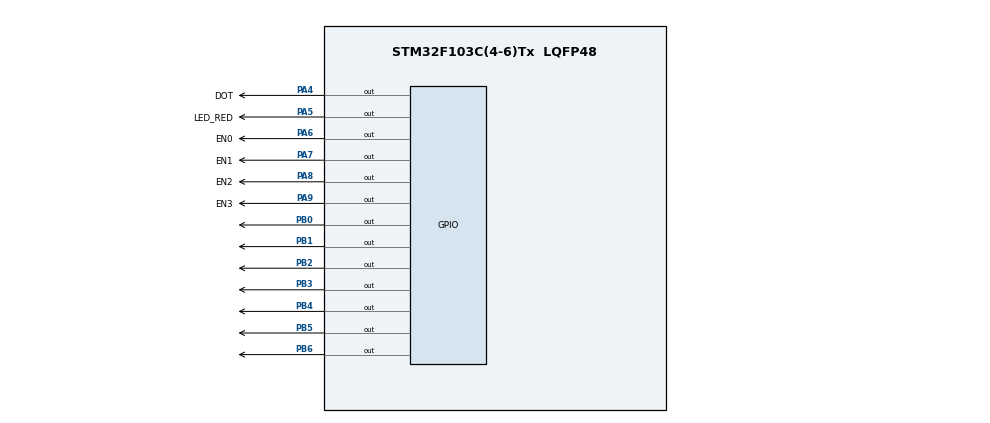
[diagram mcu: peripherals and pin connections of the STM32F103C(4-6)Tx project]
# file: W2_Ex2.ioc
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Mcu.Family=STM32F1
Mcu.Name=STM32F103C(4-6)Tx
Mcu.Package=LQFP48
NVIC.PriorityGroup=NVIC_PRIORITYGROUP_4
NVIC.TIM2_IRQn=true\:0\:0\:false\:false\:true\:true\:true
PA4.GPIO_Label=DOT
PA4.Signal=GPIO_Output
PA5.GPIO_Label=LED_RED
PA5.Signal=GPIO_Output
PA6.GPIO_Label=EN0
PA6.Signal=GPIO_Output
PA7.GPIO_Label=EN1
PA7.Signal=GPIO_Output
PA8.GPIO_Label=EN2
PA8.Signal=GPIO_Output
PA9.GPIO_Label=EN3
PA9.Signal=GPIO_Output
PB0.Signal=GPIO_Output
PB1.Signal=GPIO_Output
PB2.Signal=GPIO_Output
PB3.Signal=GPIO_Output
PB4.Signal=GPIO_Output
PB5.Signal=GPIO_Output
PB6.Signal=GPIO_Output
PD0-OSC_IN.Mode=HSE-External-Oscillator
PD0-OSC_IN.Signal=RCC_OSC_IN
PD1-OSC_OUT.Mode=HSE-External-Oscillator
PD1-OSC_OUT.Signal=RCC_OSC_OUT
ProjectManager.HeapSize=0x200
ProjectManager.StackSize=0x400
ProjectManager.TargetToolchain=STM32CubeIDE
RCC.APB1Freq_Value=8000000
RCC.APB2Freq_Value=8000000
TIM2.Period=9
TIM2.Prescaler=7999
VP_SYS_VS_ND.Mode=No_Debug
VP_TIM2_VS_ClockSourceINT.Mode=Internal
board=custom

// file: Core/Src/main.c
/* USER CODE BEGIN Header */
/**
  ******************************************************************************
  * @file           : main.c
  * @brief          : Main program body
  ******************************************************************************
  * @attention
  *
  * <h2><center>&copy; Copyright (c) 2021 STMicroelectronics.
  * All rights reserved.</center></h2>
  *
  * This software component is licensed by ST under BSD 3-Clause license,
  * the "License"; You may not use this file except in compliance with the
  * License. You may obtain a copy of the License at:
  *                        opensource.org/licenses/BSD-3-Clause
  *
  ******************************************************************************
  */
/* USER CODE END Header */
#include "main.h"

/* USER CODE BEGIN Includes */
int NUM[10][7]={
		{0,0,0,0,0,0,1},
		{1,0,0,1,1,1,1},
		{0,0,1,0,0,1,0},
		{0,0,0,0,1,1,0},
		{1,0,0,1,1,0,0},
		{0,1,0,0,1,0,0},
		{0,1,0,0,0,0,0},
		{0,0,0,1,1,1,1},
		{0,0,0,0,0,0,0},
		{0,0,0,0,1,0,0},
};

void display7SEG(int num)
{
	HAL_GPIO_WritePin(GPIOB, GPIO_PIN_0, NUM[num][0]);
	HAL_GPIO_WritePin(GPIOB, GPIO_PIN_1, NUM[num][1]);
	HAL_GPIO_WritePin(GPIOB, GPIO_PIN_2, NUM[num][2]);
	HAL_GPIO_WritePin(GPIOB, GPIO_PIN_3, NUM[num][3]);
	HAL_GPIO_WritePin(GPIOB, GPIO_PIN_4, NUM[num][4]);
	HAL_GPIO_WritePin(GPIOB, GPIO_PIN_5, NUM[num][5]);
	HAL_GPIO_WritePin(GPIOB, GPIO_PIN_6, NUM[num][6]);
}

#define START 0
#define ONE 1
#define TWO 2
#define THREE 3
#define ZERO 4
// Khơi tạo trạng thái đầu tiên
int status = START;

void FSM(){
	switch (status) {
		case START:
			// tắt tất cả đèn
			// 4 đèn 7SEG
			HAL_GPIO_WritePin(EN0_GPIO_Port, EN0_Pin, 1);
			HAL_GPIO_WritePin(EN1_GPIO_Port, EN1_Pin, 1);
			HAL_GPIO_WritePin(EN2_GPIO_Port, EN2_Pin, 1);
			HAL_GPIO_WritePin(EN3_GPIO_Port, EN3_Pin, 1);

			// đèn LED_RED
			HAL_GPIO_WritePin(LED_RED_GPIO_Port, LED_RED_Pin, 1);

			// đèn DOT
			HAL_GPIO_WritePin(DOT_GPIO_Port, DOT_Pin, 1);

			status = ONE;
			break;

		case ONE:
			// sáng đèn thứ nhất LED = 1, tắt các đèn còn lại
			HAL_GPIO_WritePin(EN3_GPIO_Port, EN3_Pin, 1);

			// hiển thị số 1 ở đèn thứ nhất
			display7SEG(1);
			HAL_GPIO_WritePin(EN0_GPIO_Port, EN0_Pin, 0);

			status = TWO;
			break;

		case TWO:
			// sáng đèn thứ hai LED = 2, tắt các đèn còn lại
			HAL_GPIO_WritePin(EN0_GPIO_Port, EN0_Pin, 1);

			// sau 1 giây thì nhảy đèn ở DOT và LED_RED
			HAL_GPIO_TogglePin(DOT_GPIO_Port, DOT_Pin);
			HAL_GPIO_TogglePin(LED_RED_GPIO_Port, LED_RED_Pin);

			// hiển thị số 2 ở đèn thứ hai
			display7SEG(2);
			HAL_GPIO_WritePin(EN1_GPIO_Port, EN1_Pin, 0);

			status = THREE;
			break;

		case THREE:
			// sáng đèn thứ ba LED = 3, tắt các đèn còn lại
			HAL_GPIO_WritePin(EN1_GPIO_Port, EN1_Pin, 1);

			// hiển thị số 3 ở đèn thứ ba
			display7SEG(3);
			HAL_GPIO_WritePin(EN2_GPIO_Port, EN2_Pin, 0);

			status = ZERO;
			break;

		case ZERO:
			// sáng đèn thứ tư LED = 0, tắt các đèn còn lại
			HAL_GPIO_WritePin(EN2_GPIO_Port, EN2_Pin, 1);

			// sau 1 giây thì nhảy đèn ở DOT và LED_RED
			HAL_GPIO_TogglePin(DOT_GPIO_Port, DOT_Pin);
			HAL_GPIO_TogglePin(LED_RED_GPIO_Port, LED_RED_Pin);

			display7SEG(0);
			HAL_GPIO_WritePin(EN3_GPIO_Port, EN3_Pin, 0);

			status = ONE;
			break;
	}
}

/* USER CODE END Includes */

TIM_HandleTypeDef htim2;

void SystemClock_Config(void);
static void MX_GPIO_Init(void);
static void MX_TIM2_Init(void);

int main(void)
{

  /* MCU Configuration--------------------------------------------------------*/

  /* Reset of all peripherals, Initializes the Flash interface and the Systick. */
  HAL_Init();

  /* Configure the system clock */
  SystemClock_Config();

  /* Initialize all configured peripherals */
  MX_GPIO_Init();
  MX_TIM2_Init();
  /* USER CODE BEGIN 2 */
  HAL_TIM_Base_Start_IT (&htim2 );
  /* USER CODE END 2 */

  /* Infinite loop */
  while (1)
  {

  }
}

void SystemClock_Config(void)
{
  RCC_OscInitTypeDef RCC_OscInitStruct = {0};
  RCC_ClkInitTypeDef RCC_ClkInitStruct = {0};

  /** Initializes the RCC Oscillators according to the specified parameters
  * in the RCC_OscInitTypeDef structure.
  */
  RCC_OscInitStruct.OscillatorType = RCC_OSCILLATORTYPE_HSI;
  RCC_OscInitStruct.HSIState = RCC_HSI_ON;
  RCC_OscInitStruct.HSICalibrationValue = RCC_HSICALIBRATION_DEFAULT;
  RCC_OscInitStruct.PLL.PLLState = RCC_PLL_NONE;
  if (HAL_RCC_OscConfig(&RCC_OscInitStruct) != HAL_OK)
  {
    Error_Handler();
  }
  /** Initializes the CPU, AHB and APB buses clocks
  */
  RCC_ClkInitStruct.ClockType = RCC_CLOCKTYPE_HCLK|RCC_CLOCKTYPE_SYSCLK
                              |RCC_CLOCKTYPE_PCLK1|RCC_CLOCKTYPE_PCLK2;
  RCC_ClkInitStruct.SYSCLKSource = RCC_SYSCLKSOURCE_HSI;
  RCC_ClkInitStruct.AHBCLKDivider = RCC_SYSCLK_DIV1;
  RCC_ClkInitStruct.APB1CLKDivider = RCC_HCLK_DIV1;
  RCC_ClkInitStruct.APB2CLKDivider = RCC_HCLK_DIV1;

  if (HAL_RCC_ClockConfig(&RCC_ClkInitStruct, FLASH_LATENCY_0) != HAL_OK)
  {
    Error_Handler();
  }
}

static void MX_TIM2_Init(void)
{

  TIM_ClockConfigTypeDef sClockSourceConfig = {0};
  TIM_MasterConfigTypeDef sMasterConfig = {0};

  htim2.Instance = TIM2;
  htim2.Init.Prescaler = 7999;
  htim2.Init.CounterMode = TIM_COUNTERMODE_UP;
  htim2.Init.Period = 9;
  htim2.Init.ClockDivision = TIM_CLOCKDIVISION_DIV1;
  htim2.Init.AutoReloadPreload = TIM_AUTORELOAD_PRELOAD_DISABLE;
  if (HAL_TIM_Base_Init(&htim2) != HAL_OK)
  {
    Error_Handler();
  }
  sClockSourceConfig.ClockSource = TIM_CLOCKSOURCE_INTERNAL;
  if (HAL_TIM_ConfigClockSource(&htim2, &sClockSourceConfig) != HAL_OK)
  {
    Error_Handler();
  }
  sMasterConfig.MasterOutputTrigger = TIM_TRGO_RESET;
  sMasterConfig.MasterSlaveMode = TIM_MASTERSLAVEMODE_DISABLE;
  if (HAL_TIMEx_MasterConfigSynchronization(&htim2, &sMasterConfig) != HAL_OK)
  {
    Error_Handler();
  }

}

static void MX_GPIO_Init(void)
{
  GPIO_InitTypeDef GPIO_InitStruct = {0};

  /* GPIO Ports Clock Enable */
  __HAL_RCC_GPIOD_CLK_ENABLE();
  __HAL_RCC_GPIOA_CLK_ENABLE();
  __HAL_RCC_GPIOB_CLK_ENABLE();

  /*Configure GPIO pin Output Level */
  HAL_GPIO_WritePin(GPIOA, DOT_Pin|LED_RED_Pin|EN0_Pin|EN1_Pin
                          |EN2_Pin|EN3_Pin, GPIO_PIN_RESET);

  /*Configure GPIO pin Output Level */
  HAL_GPIO_WritePin(GPIOB, GPIO_PIN_0|GPIO_PIN_1|GPIO_PIN_2|GPIO_PIN_3
                          |GPIO_PIN_4|GPIO_PIN_5|GPIO_PIN_6, GPIO_PIN_RESET);

  /*Configure GPIO pins : DOT_Pin LED_RED_Pin EN0_Pin EN1_Pin
                           EN2_Pin EN3_Pin */
  GPIO_InitStruct.Pin = DOT_Pin|LED_RED_Pin|EN0_Pin|EN1_Pin
                          |EN2_Pin|EN3_Pin;
  GPIO_InitStruct.Mode = GPIO_MODE_OUTPUT_PP;
  GPIO_InitStruct.Pull = GPIO_NOPULL;
  GPIO_InitStruct.Speed = GPIO_SPEED_FREQ_LOW;
  HAL_GPIO_Init(GPIOA, &GPIO_InitStruct);

  /*Configure GPIO pins : PB0 PB1 PB2 PB3
                           PB4 PB5 PB6 */
  GPIO_InitStruct.Pin = GPIO_PIN_0|GPIO_PIN_1|GPIO_PIN_2|GPIO_PIN_3
                          |GPIO_PIN_4|GPIO_PIN_5|GPIO_PIN_6;
  GPIO_InitStruct.Mode = GPIO_MODE_OUTPUT_PP;
  GPIO_InitStruct.Pull = GPIO_NOPULL;
  GPIO_InitStruct.Speed = GPIO_SPEED_FREQ_LOW;
  HAL_GPIO_Init(GPIOB, &GPIO_InitStruct);

}

/* USER CODE BEGIN 4 */
// f (source) = 100 Hz, T = 10 ms
// f (callback) = 100/50 = 2 Hz, T = 0.5s

int counter = 50;

void HAL_TIM_PeriodElapsedCallback ( TIM_HandleTypeDef * htim ){
	counter--;

	if (counter <= 0){
		counter = 50;

		FSM();
	}
}
/* USER CODE END 4 */

void Error_Handler(void)
{
  __disable_irq();
  while (1)
  {
  }
}

/************************ (C) COPYRIGHT STMicroelectronics *****END OF FILE****/
